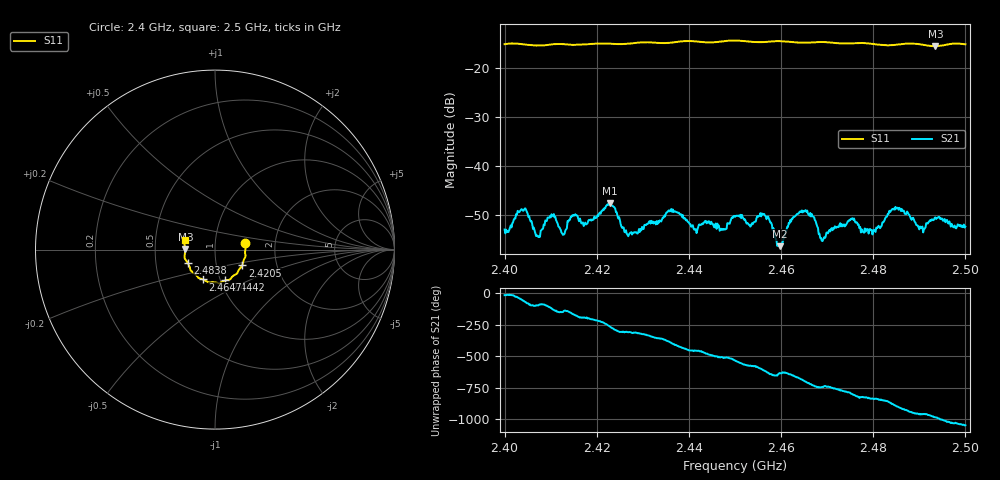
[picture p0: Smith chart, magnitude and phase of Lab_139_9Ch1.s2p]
# Hz S RI R 50
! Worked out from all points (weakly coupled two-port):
!   601 points, 2.4 GHz to 2.5 GHz, reference 50 ohm
!   highest |S21| = -47.65 dB at 2.4228 GHz (marker M1); lowest = -56.4 dB at 2.4597 GHz (marker M2)
!   lowest |S11| = -15.6 dB at 2.4935 GHz (marker M3), VSWR 1.40, Z = 35.8 + j0.128 ohm
!   |S11| at or under -10 dB: start of sweep to end of sweep
!   S12 and S22 are empty: the file has one direction only
!   S11 on the Smith chart (normalised r, x): 2.4 GHz: 1.40, +0.11; 2.4205 GHz: 1.33, -0.24; 2.4442 GHz: 1.05, -0.37; 2.4647 GHz: 0.83, -0.29; 2.4838 GHz: 0.73, -0.11; 2.5 GHz: 0.71, +0.08
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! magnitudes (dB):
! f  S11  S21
! 2.4 GHz  -15.2  -53.0
! 2.404 GHz  -15.2  -49.2
! 2.4072 GHz  -15.5  -54.3
! 2.4102 GHz  -15.3  -49.9
! 2.4127 GHz  -15.2  -54.1
! 2.4167 GHz  -15.3  -51.8
! 2.4205 GHz  -15.1  -49.8
! 2.4228 GHz  -15.1  -47.7
! 2.4265 GHz  -15.1  -53.8
! 2.4333 GHz  -15.0  -51.3
! 2.4442 GHz  -14.9  -51.6
! 2.45 GHz  -14.5  -50.4
! 2.4567 GHz  -14.8  -50.3
! 2.4597 GHz  -14.6  -56.4
! 2.4647 GHz  -14.9  -49.5
! 2.4667 GHz  -14.9  -49.9
! 2.469 GHz  -14.8  -55.4
! 2.4833 GHz  -15.4  -49.8
! 2.4838 GHz  -15.4  -49.2
! 2.4905 GHz  -15.3  -52.7
! 2.4935 GHz  -15.6  -50.5
! 2.5 GHz  -15.2  -52.4
